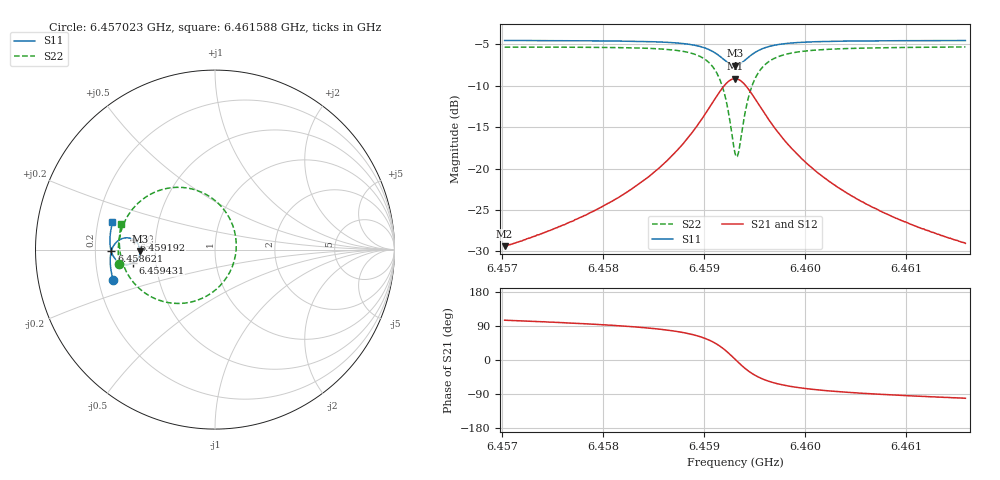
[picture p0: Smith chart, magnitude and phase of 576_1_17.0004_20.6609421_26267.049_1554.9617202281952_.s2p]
#  HZ  S  RI  R  50.00
! Rohde & Schwarz Vector Network Analyzer
! Rohde-Schwarz,ZNB20-2Port,1311601062101988,3.16
! Created: UTC 3/20/2024, 11:17:55 PM
! freq[Hz]  re:S11  im:S11  re:S21  im:S21  re:S12  im:S12  re:S22  im:S22
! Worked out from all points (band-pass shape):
!   401 points, 6.457023 GHz to 6.461588 GHz, reference 50 ohm
!   highest |S21| = -9.15 dB at 6.459306 GHz (marker M1); lowest = -29.4 dB at 6.457023 GHz (marker M2)
!   |S21| within 3 dB of the highest: 6.459078 GHz to 6.459534 GHz (455.8 kHz wide, 0.00706 % of centre)
!   lowest |S11| = -7.6 dB at 6.459306 GHz (marker M3), VSWR 2.43, Z = 20.6 - j0.425 ohm
!   |S11| at or under -10 dB: nowhere
!   |S22| runs from -18.6 to -5.3 dB; largest |S21 - S12| = 0.014
!   S11 on the Smith chart (normalised r, x): 6.457023 GHz: 0.26, -0.14; 6.458621 GHz: 0.27, -0.01; 6.459192 GHz: 0.37, +0.05; 6.459431 GHz: 0.37, -0.07; 6.461588 GHz: 0.26, +0.12
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6.4570233e9  -0.5677 -0.1686  -0.00879 0.0329  -0.00698 0.0328  -0.5337 -0.0806
6.4577879e9  -0.5812 -0.1016  -0.00541 0.0508  -0.00276 0.0502  -0.5385 0.00953
6.4582216e9  -0.5838 -0.0578  0.00107 0.0711  0.00435 0.0697  -0.5292 0.0791
6.4585525e9  -0.5799 -0.0179  0.0149 0.0995  0.0189 0.0967  -0.5036 0.155
6.458621e9  -0.5775 -0.00853  0.0202 0.108  0.0243 0.1047  -0.4934 0.175
6.458815e9  -0.5647 0.022  0.0471 0.139  0.0513 0.134  -0.4428 0.2444
6.4589634e9  -0.5418 0.0481  0.0929 0.1695  0.0962 0.1628  -0.3583 0.3089
6.4591003e9  -0.4976 0.0656  0.1809 0.1857  0.1817 0.1784  -0.1974 0.3469
6.4591916e9  -0.4528 0.0552  0.2714 0.1541  0.2716 0.1482  -0.0296 0.2954
6.4592601e9  -0.4236 0.0228  0.3319 0.0814  0.3343 0.0761  0.0864 0.1644
6.4593058e9  -0.4168 -0.00854  0.3485 0.0129  0.3521 0.00584  0.1183 0.0357
6.4593172e9  -0.4172 -0.0168  0.3481 -0.00487  0.3521 -0.0128  0.1179 0.00173
6.45934e9  -0.4207 -0.0324  0.3421 -0.0399  0.3463 -0.0492  0.1065 -0.0645
6.4593857e9  -0.4365 -0.0587  0.3134 -0.1003  0.3157 -0.1125  0.0476 -0.1788
6.4594313e9  -0.4586 -0.0753  0.2708 -0.1416  0.27 -0.155  -0.0386 -0.2542
6.4595226e9  -0.5024 -0.082  0.1852 -0.1728  0.1788 -0.1844  -0.2096 -0.3
6.459671e9  -0.5465 -0.0615  0.0964 -0.1584  0.0878 -0.1647  -0.3789 -0.2493
6.4598422e9  -0.5692 -0.0318  0.0492 -0.1282  0.0416 -0.1308  -0.4633 -0.1714
6.4600704e9  -0.5811 0.00188  0.0222 -0.0982  0.0161 -0.0986  -0.5075 -0.0928
6.4604242e9  -0.5854 0.044  0.00568 -0.0702  0.00164 -0.0699  -0.5294 -0.0113
6.4608351e9  -0.5835 0.0852  -0.00163 -0.0523  -0.00447 -0.0514  -0.5331 0.055
6.4615883e9  -0.5712 0.1522  -0.00676 -0.0347  -0.00838 -0.0339  -0.5215 0.1445
